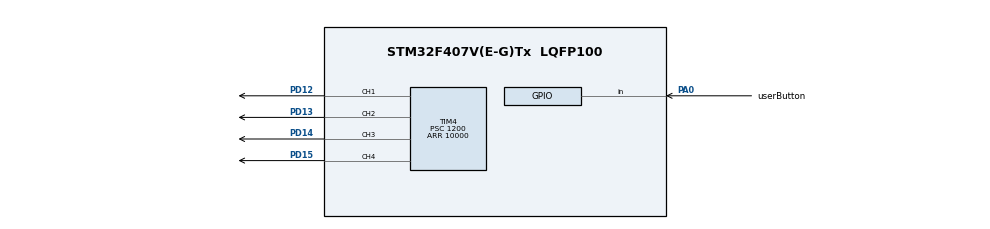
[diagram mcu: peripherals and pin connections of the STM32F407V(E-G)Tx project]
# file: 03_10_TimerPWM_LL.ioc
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Mcu.Family=STM32F4
Mcu.Name=STM32F407V(E-G)Tx
Mcu.Package=LQFP100
NVIC.PriorityGroup=NVIC_PRIORITYGROUP_4
PA0-WKUP.GPIO_Label=userButton
PA0-WKUP.Signal=GPIO_Input
PD12.Signal=S_TIM4_CH1
PD13.Signal=S_TIM4_CH2
PD14.Signal=S_TIM4_CH3
PD15.Signal=S_TIM4_CH4
PH0-OSC_IN.Mode=HSE-External-Oscillator
PH0-OSC_IN.Signal=RCC_OSC_IN
PH1-OSC_OUT.Mode=HSE-External-Oscillator
PH1-OSC_OUT.Signal=RCC_OSC_OUT
ProjectManager.HeapSize=0x200
ProjectManager.StackSize=0x400
ProjectManager.TargetToolchain=STM32CubeIDE
RCC.48MHZClocksFreq_Value=48000000
RCC.AHBCLKDivider=RCC_SYSCLK_DIV8
RCC.AHBFreq_Value=12000000
RCC.APB1Freq_Value=12000000
RCC.APB1TimFreq_Value=12000000
RCC.APB2Freq_Value=12000000
RCC.APB2TimFreq_Value=12000000
RCC.CortexFreq_Value=12000000
RCC.HCLKFreq_Value=12000000
RCC.HSE_VALUE=8000000
RCC.HSI_VALUE=16000000
RCC.LSE_VALUE=32768
RCC.PLLM=8
RCC.PLLSourceVirtual=RCC_PLLSOURCE_HSE
RCC.SYSCLKFreq_VALUE=96000000
RCC.SYSCLKSource=RCC_SYSCLKSOURCE_PLLCLK
RCC.VCOOutputFreq_Value=192000000
SH.S_TIM4_CH1.0=TIM4_CH1,PWM Generation1 CH1
SH.S_TIM4_CH2.0=TIM4_CH2,PWM Generation2 CH2
SH.S_TIM4_CH3.0=TIM4_CH3,PWM Generation3 CH3
SH.S_TIM4_CH4.0=TIM4_CH4,PWM Generation4 CH4
TIM4.Channel-PWM\ Generation1\ CH1=TIM_CHANNEL_1
TIM4.Channel-PWM\ Generation2\ CH2=TIM_CHANNEL_2
TIM4.Channel-PWM\ Generation3\ CH3=TIM_CHANNEL_3
TIM4.Channel-PWM\ Generation4\ CH4=TIM_CHANNEL_4
TIM4.Period=10000
TIM4.Prescaler=1200
board=custom

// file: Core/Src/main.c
/* USER CODE BEGIN Header */
/**
  ******************************************************************************
  * @file           : main.c
  * @brief          : Main program body
  ******************************************************************************
  * @attention
  *
  * Copyright (c) 2024 STMicroelectronics.
  * All rights reserved.
  *
  * This software is licensed under terms that can be found in the LICENSE file
  * in the root directory of this software component.
  * If no LICENSE file comes with this software, it is provided AS-IS.
  *
  ******************************************************************************
  */
/* USER CODE END Header */
#include "main.h"

void SystemClock_Config(void);
static void MX_GPIO_Init(void);
static void MX_TIM4_Init(void);

int main(void)
{

  /* USER CODE BEGIN 1 */
	uint32_t b1State = 0;
	uint32_t last = 0;
	uint8_t speedState = 0x0;
  /* USER CODE END 1 */

  /* MCU Configuration--------------------------------------------------------*/

  /* Reset of all peripherals, Initializes the Flash interface and the Systick. */
  LL_APB2_GRP1_EnableClock(LL_APB2_GRP1_PERIPH_SYSCFG);
  LL_APB1_GRP1_EnableClock(LL_APB1_GRP1_PERIPH_PWR);

  /* System interrupt init*/
  NVIC_SetPriorityGrouping(NVIC_PRIORITYGROUP_4);

  /* SysTick_IRQn interrupt configuration */
  NVIC_SetPriority(SysTick_IRQn, NVIC_EncodePriority(NVIC_GetPriorityGrouping(),15, 0));

  /* Configure the system clock */
  SystemClock_Config();

  /* Initialize all configured peripherals */
  MX_GPIO_Init();
  MX_TIM4_Init();
  /* USER CODE BEGIN 2 */

  LL_TIM_OC_SetCompareCH1(TIM4, 1000);
  LL_TIM_OC_SetCompareCH2(TIM4, 3000);
  LL_TIM_OC_SetCompareCH3(TIM4, 5000);
  LL_TIM_OC_SetCompareCH4(TIM4, 8000);

  LL_TIM_CC_EnableChannel(TIM4, LL_TIM_CHANNEL_CH1);
  LL_TIM_CC_EnableChannel(TIM4, LL_TIM_CHANNEL_CH2);
  LL_TIM_CC_EnableChannel(TIM4, LL_TIM_CHANNEL_CH3);
  LL_TIM_CC_EnableChannel(TIM4, LL_TIM_CHANNEL_CH4);

  LL_TIM_EnableCounter(TIM4);
  /* USER CODE END 2 */

  /* Infinite loop */
  /* USER CODE BEGIN WHILE */
  while (1)
  {
		 b1State = LL_GPIO_ReadInputPort(userButton_GPIO_Port) & userButton_Pin;
		  if(((b1State & userButton_Pin) == userButton_Pin) && b1State != last){
			  speedState ^= 0x1;
		  }
		  switch(speedState){
		  case 0:
			  LL_TIM_OC_SetCompareCH1(TIM4, 1000);		// 10% duty cycle
			  LL_TIM_OC_SetCompareCH2(TIM4, 3000);		// 30% duty cycle
			  LL_TIM_OC_SetCompareCH3(TIM4, 5000);		// 50% duty cycle
			  LL_TIM_OC_SetCompareCH4(TIM4, 10000);		// 100% duty cycle
			  break;
		  case 1:
			  LL_TIM_OC_SetCompareCH1(TIM4, 2500);		// 25% duty cycle
			  LL_TIM_OC_SetCompareCH2(TIM4, 5000);		// 50% duty cycle
			  LL_TIM_OC_SetCompareCH3(TIM4, 10000);		// 100% duty cycle
			  LL_TIM_OC_SetCompareCH4(TIM4, 10000);		// 100% duty cycle
			  break;
		  }

		  last = b1State;

    /* USER CODE END WHILE */

  }
}

void SystemClock_Config(void)
{
  LL_FLASH_SetLatency(LL_FLASH_LATENCY_0);
  while(LL_FLASH_GetLatency()!= LL_FLASH_LATENCY_0)
  {
  }
  LL_PWR_SetRegulVoltageScaling(LL_PWR_REGU_VOLTAGE_SCALE1);
  LL_RCC_HSE_Enable();

   /* Wait till HSE is ready */
  while(LL_RCC_HSE_IsReady() != 1)
  {

  }
  LL_RCC_PLL_ConfigDomain_SYS(LL_RCC_PLLSOURCE_HSE, LL_RCC_PLLM_DIV_8, 192, LL_RCC_PLLP_DIV_2);
  LL_RCC_PLL_Enable();

   /* Wait till PLL is ready */
  while(LL_RCC_PLL_IsReady() != 1)
  {

  }
  while (LL_PWR_IsActiveFlag_VOS() == 0)
  {
  }
  LL_RCC_SetAHBPrescaler(LL_RCC_SYSCLK_DIV_8);
  LL_RCC_SetAPB1Prescaler(LL_RCC_APB1_DIV_1);
  LL_RCC_SetAPB2Prescaler(LL_RCC_APB2_DIV_1);
  LL_RCC_SetSysClkSource(LL_RCC_SYS_CLKSOURCE_PLL);

   /* Wait till System clock is ready */
  while(LL_RCC_GetSysClkSource() != LL_RCC_SYS_CLKSOURCE_STATUS_PLL)
  {

  }
  LL_Init1msTick(12000000);
  LL_SetSystemCoreClock(12000000);
}

static void MX_TIM4_Init(void)
{

  LL_TIM_InitTypeDef TIM_InitStruct = {0};
  LL_TIM_OC_InitTypeDef TIM_OC_InitStruct = {0};

  LL_GPIO_InitTypeDef GPIO_InitStruct = {0};

  /* Peripheral clock enable */
  LL_APB1_GRP1_EnableClock(LL_APB1_GRP1_PERIPH_TIM4);

  TIM_InitStruct.Prescaler = 1200;
  TIM_InitStruct.CounterMode = LL_TIM_COUNTERMODE_UP;
  TIM_InitStruct.Autoreload = 10000;
  TIM_InitStruct.ClockDivision = LL_TIM_CLOCKDIVISION_DIV1;
  LL_TIM_Init(TIM4, &TIM_InitStruct);
  LL_TIM_DisableARRPreload(TIM4);
  LL_TIM_OC_EnablePreload(TIM4, LL_TIM_CHANNEL_CH1);
  TIM_OC_InitStruct.OCMode = LL_TIM_OCMODE_PWM1;
  TIM_OC_InitStruct.OCState = LL_TIM_OCSTATE_DISABLE;
  TIM_OC_InitStruct.OCNState = LL_TIM_OCSTATE_DISABLE;
  TIM_OC_InitStruct.CompareValue = 0;
  TIM_OC_InitStruct.OCPolarity = LL_TIM_OCPOLARITY_HIGH;
  LL_TIM_OC_Init(TIM4, LL_TIM_CHANNEL_CH1, &TIM_OC_InitStruct);
  LL_TIM_OC_DisableFast(TIM4, LL_TIM_CHANNEL_CH1);
  LL_TIM_OC_EnablePreload(TIM4, LL_TIM_CHANNEL_CH2);
  LL_TIM_OC_Init(TIM4, LL_TIM_CHANNEL_CH2, &TIM_OC_InitStruct);
  LL_TIM_OC_DisableFast(TIM4, LL_TIM_CHANNEL_CH2);
  LL_TIM_OC_EnablePreload(TIM4, LL_TIM_CHANNEL_CH3);
  LL_TIM_OC_Init(TIM4, LL_TIM_CHANNEL_CH3, &TIM_OC_InitStruct);
  LL_TIM_OC_DisableFast(TIM4, LL_TIM_CHANNEL_CH3);
  LL_TIM_OC_EnablePreload(TIM4, LL_TIM_CHANNEL_CH4);
  LL_TIM_OC_Init(TIM4, LL_TIM_CHANNEL_CH4, &TIM_OC_InitStruct);
  LL_TIM_OC_DisableFast(TIM4, LL_TIM_CHANNEL_CH4);
  LL_TIM_SetTriggerOutput(TIM4, LL_TIM_TRGO_RESET);
  LL_TIM_DisableMasterSlaveMode(TIM4);
  LL_AHB1_GRP1_EnableClock(LL_AHB1_GRP1_PERIPH_GPIOD);
  /**TIM4 GPIO Configuration
  PD12   ------> TIM4_CH1
  PD13   ------> TIM4_CH2
  PD14   ------> TIM4_CH3
  PD15   ------> TIM4_CH4
  */
  GPIO_InitStruct.Pin = LL_GPIO_PIN_12|LL_GPIO_PIN_13|LL_GPIO_PIN_14|LL_GPIO_PIN_15;
  GPIO_InitStruct.Mode = LL_GPIO_MODE_ALTERNATE;
  GPIO_InitStruct.Speed = LL_GPIO_SPEED_FREQ_LOW;
  GPIO_InitStruct.OutputType = LL_GPIO_OUTPUT_PUSHPULL;
  GPIO_InitStruct.Pull = LL_GPIO_PULL_NO;
  GPIO_InitStruct.Alternate = LL_GPIO_AF_2;
  LL_GPIO_Init(GPIOD, &GPIO_InitStruct);

}

static void MX_GPIO_Init(void)
{
  LL_GPIO_InitTypeDef GPIO_InitStruct = {0};

  /* GPIO Ports Clock Enable */
  LL_AHB1_GRP1_EnableClock(LL_AHB1_GRP1_PERIPH_GPIOH);
  LL_AHB1_GRP1_EnableClock(LL_AHB1_GRP1_PERIPH_GPIOA);
  LL_AHB1_GRP1_EnableClock(LL_AHB1_GRP1_PERIPH_GPIOD);

  /**/
  GPIO_InitStruct.Pin = userButton_Pin;
  GPIO_InitStruct.Mode = LL_GPIO_MODE_INPUT;
  GPIO_InitStruct.Pull = LL_GPIO_PULL_NO;
  LL_GPIO_Init(userButton_GPIO_Port, &GPIO_InitStruct);

}

void Error_Handler(void)
{
  __disable_irq();
  while (1)
  {
  }
}
